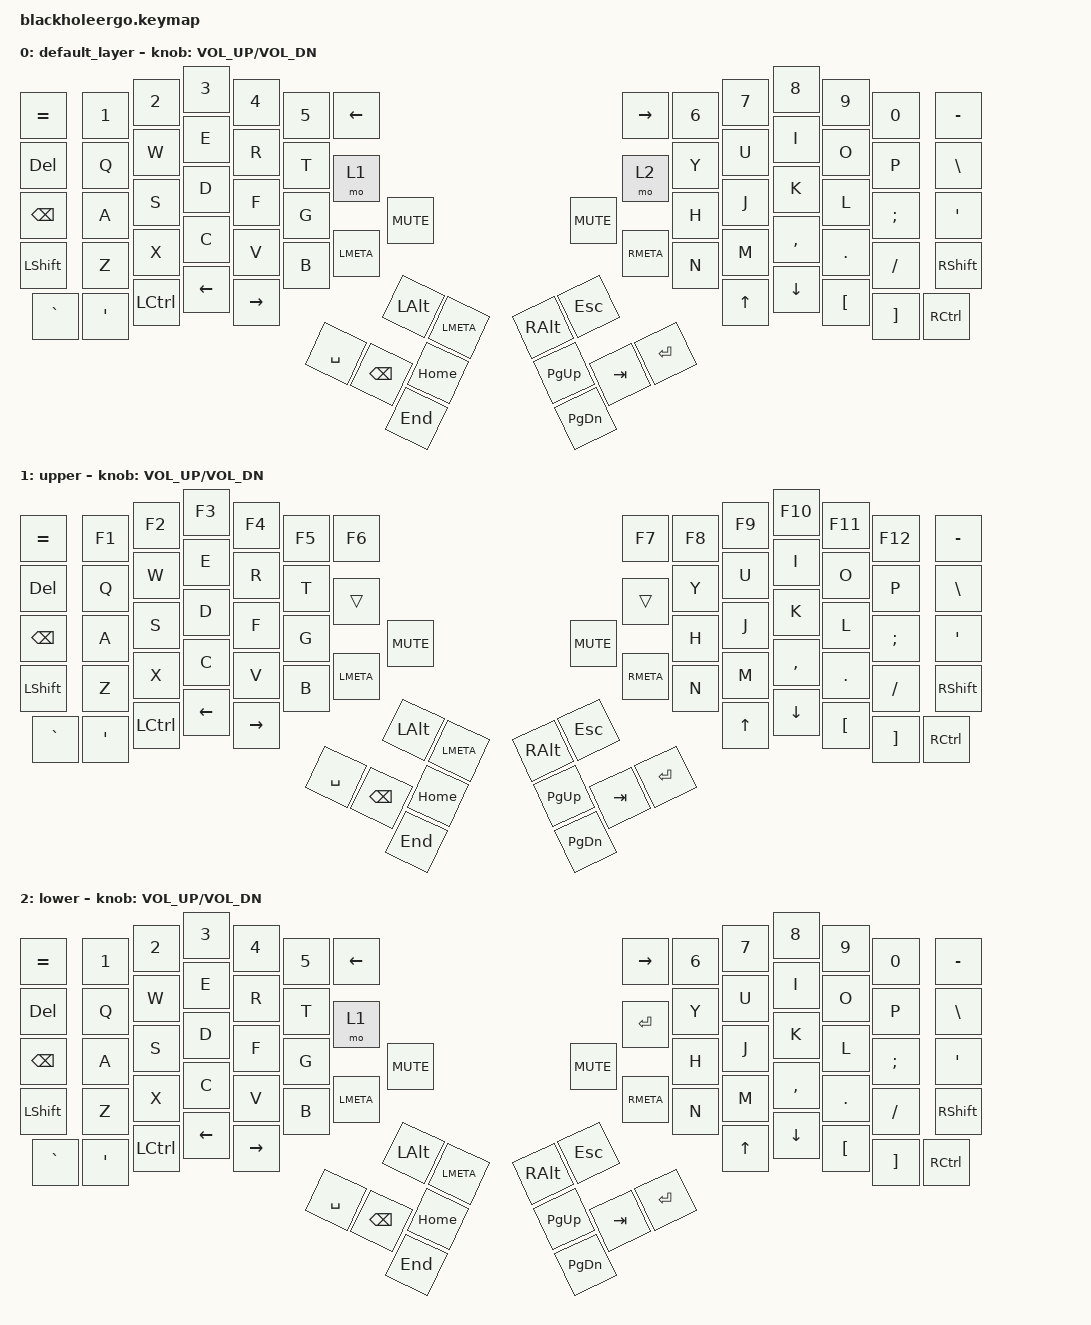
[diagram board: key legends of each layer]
#include <behaviors.dtsi>
#include <dt-bindings/zmk/keys.h>

&led_strip { chain-length = <38>; };

/ {
    keymap {
        compatible = "zmk,keymap";

        default_layer {
            // ------------------------------------------------------------------------------------------------
            // |  =   | 1 |   2   | 3 | 4 |  5  |     | --------------- |     |  6  | 7 | 8 | 9 | 0 |   -   |
            // | DEL  | Q |   W   | E | R |  T  | Up | C_MUTE | - | C_MUTE | LO   |  Y  | U | I | O | P |   \ |
            // | BSPC | A |   S   | D | F |  G  | ALT  | WIN  | - | ALT  | ESC  |  H  | J | K | L | ; |   '   |
            // | SHFT | Z |   X   | C | V |  B  | MEH  | HOME | - | PGUP | HYPR |  N  | M | , | . | / |  SHFT |
            // |  `   | ' | LOWER |  |  | SPC | BSPC | END  | - | PGDN | TAB  | ENT |  |  | [ | ] |  LAY1 |
            // ------------------------------------------------------------------------------------------------

            bindings = <
&kp EQUAL  &kp N1    &kp N2     &kp N3    &kp N4     &kp N5     &kp LEFT                           &kp RIGHT  &kp N6   &kp N7  &kp N8     &kp N9    &kp N0     &kp MINUS
&kp DEL    &kp Q     &kp W      &kp E     &kp R      &kp T      &mo 1      &kp K_MUTE  &kp K_MUTE  &mo 2      &kp Y    &kp U   &kp I      &kp O     &kp P      &kp BSLH
&kp BSPC   &kp A     &kp S      &kp D     &kp F      &kp G      &kp LALT   &kp LMETA   &kp RALT    &kp ESC    &kp H    &kp J   &kp K      &kp L     &kp SEMI   &kp APOS
&kp LSHFT  &kp Z     &kp X      &kp C     &kp V      &kp B      &kp LMETA  &kp HOME    &kp PG_UP   &kp RMETA  &kp N    &kp M   &kp COMMA  &kp DOT   &kp SLASH  &kp RSHFT
&kp GRAVE  &kp APOS  &kp LCTRL  &kp LEFT  &kp RIGHT  &kp SPACE  &kp BSPC   &kp END     &kp PG_DN   &kp TAB    &kp RET  &kp UP  &kp DOWN   &kp LBKT  &kp RBKT   &kp RCTRL
            >;

            sensor-bindings = <&inc_dec_kp C_VOL_UP C_VOL_DN>;
        };

        upper {
            bindings = <
&kp EQUAL  &kp F1    &kp F2     &kp F3    &kp F4     &kp F5     &kp F6                             &kp F7     &kp F8   &kp F9  &kp F10    &kp F11   &kp F12    &kp MINUS
&kp DEL    &kp Q     &kp W      &kp E     &kp R      &kp T      &trans     &kp K_MUTE  &kp K_MUTE  &trans     &kp Y    &kp U   &kp I      &kp O     &kp P      &kp BSLH
&kp BSPC   &kp A     &kp S      &kp D     &kp F      &kp G      &kp LALT   &kp LMETA   &kp RALT    &kp ESC    &kp H    &kp J   &kp K      &kp L     &kp SEMI   &kp APOS
&kp LSHFT  &kp Z     &kp X      &kp C     &kp V      &kp B      &kp LMETA  &kp HOME    &kp PG_UP   &kp RMETA  &kp N    &kp M   &kp COMMA  &kp DOT   &kp SLASH  &kp RSHFT
&kp GRAVE  &kp APOS  &kp LCTRL  &kp LEFT  &kp RIGHT  &kp SPACE  &kp BSPC   &kp END     &kp PG_DN   &kp TAB    &kp RET  &kp UP  &kp DOWN   &kp LBKT  &kp RBKT   &kp RCTRL
            >;

            sensor-bindings = <&inc_dec_kp C_VOL_UP C_VOL_DN>;
        };

        lower {
            bindings = <
&kp EQUAL  &kp N1    &kp N2     &kp N3    &kp N4     &kp N5     &kp LEFT                           &kp RIGHT  &kp N6   &kp N7  &kp N8     &kp N9    &kp N0     &kp MINUS
&kp DEL    &kp Q     &kp W      &kp E     &kp R      &kp T      &mo 1      &kp K_MUTE  &kp K_MUTE  &kp RET    &kp Y    &kp U   &kp I      &kp O     &kp P      &kp BSLH
&kp BSPC   &kp A     &kp S      &kp D     &kp F      &kp G      &kp LALT   &kp LMETA   &kp RALT    &kp ESC    &kp H    &kp J   &kp K      &kp L     &kp SEMI   &kp APOS
&kp LSHFT  &kp Z     &kp X      &kp C     &kp V      &kp B      &kp LMETA  &kp HOME    &kp PG_UP   &kp RMETA  &kp N    &kp M   &kp COMMA  &kp DOT   &kp SLASH  &kp RSHFT
&kp GRAVE  &kp APOS  &kp LCTRL  &kp LEFT  &kp RIGHT  &kp SPACE  &kp BSPC   &kp END     &kp PG_DN   &kp TAB    &kp RET  &kp UP  &kp DOWN   &kp LBKT  &kp RBKT   &kp RCTRL
            >;

            sensor-bindings = <&inc_dec_kp C_VOL_UP C_VOL_DN>;
        };
    };
};
